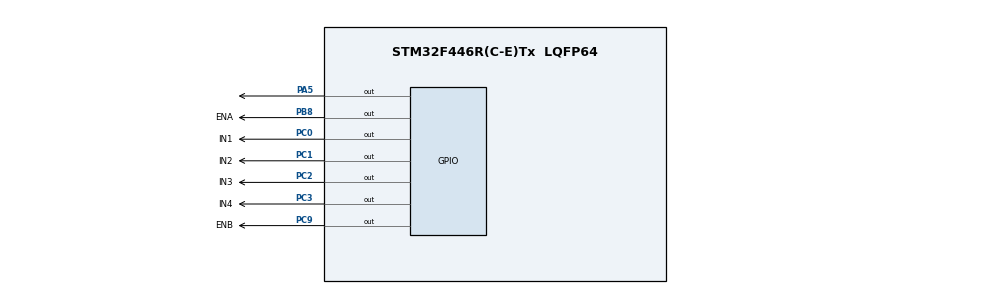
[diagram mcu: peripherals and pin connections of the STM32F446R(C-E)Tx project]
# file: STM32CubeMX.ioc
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Mcu.Family=STM32F4
Mcu.Name=STM32F446R(C-E)Tx
Mcu.Package=LQFP64
NVIC.PriorityGroup=NVIC_PRIORITYGROUP_4
PA5.Signal=GPIO_Output
PB8.GPIO_Label=ENA
PB8.Signal=GPIO_Output
PC0.GPIO_Label=IN1
PC0.Signal=GPIO_Output
PC1.GPIO_Label=IN2
PC1.Signal=GPIO_Output
PC2.GPIO_Label=IN3
PC2.Signal=GPIO_Output
PC3.GPIO_Label=IN4
PC3.Signal=GPIO_Output
PC9.GPIO_Label=ENB
PC9.Signal=GPIO_Output
ProjectManager.HeapSize=0x200
ProjectManager.StackSize=0x400
ProjectManager.TargetToolchain=MDK-ARM V5
RCC.CortexFreq_Value=16000000
RCC.USBFreq_Value=96000000
RCC.VCOOutputFreq_Value=192000000
board=custom

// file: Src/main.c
/* USER CODE BEGIN Header */
/**
  ******************************************************************************
  * @file           : main.c
  * @brief          : Main program body
  ******************************************************************************
  * @attention
  *
  * Copyright (c) 2026 STMicroelectronics.
  * All rights reserved.
  *
  * This software is licensed under terms that can be found in the LICENSE file
  * in the root directory of this software component.
  * If no LICENSE file comes with this software, it is provided AS-IS.
  *
  ******************************************************************************
  */
/* USER CODE END Header */
#include "main.h"

void SystemClock_Config(void);
static void MX_GPIO_Init(void);
/* USER CODE BEGIN PFP */
void set_coil_a(int);
void set_coil_b(int);
/* USER CODE END PFP */

/* USER CODE BEGIN 0 */
GPIO_TypeDef* GPIO_IN1 = GPIOC;
GPIO_TypeDef* GPIO_IN2 = GPIOC;
GPIO_TypeDef* GPIO_IN3 = GPIOC;
GPIO_TypeDef* GPIO_IN4 = GPIOC;
GPIO_TypeDef* GPIO_ENA = GPIOC;
GPIO_TypeDef* GPIO_ENB = GPIOB;
uint16_t PIN_IN1 = GPIO_PIN_0;
uint16_t PIN_IN2 = GPIO_PIN_1;
uint16_t PIN_IN3 = GPIO_PIN_2;
uint16_t PIN_IN4 = GPIO_PIN_3;
uint16_t PIN_ENA = GPIO_PIN_9;
uint16_t PIN_ENB = GPIO_PIN_8;
/* USER CODE END 0 */

int main(void)
{

  /* MCU Configuration--------------------------------------------------------*/

  /* Reset of all peripherals, Initializes the Flash interface and the Systick. */
  HAL_Init();

  /* Configure the system clock */
  SystemClock_Config();

  /* Initialize all configured peripherals */
  MX_GPIO_Init();
  /* USER CODE BEGIN 2 */
	HAL_GPIO_WritePin(GPIO_ENA, PIN_ENA, GPIO_PIN_SET);
	HAL_GPIO_WritePin(GPIO_ENB, PIN_ENB, GPIO_PIN_SET);

	// full step
//	int steps[4][2] = {
//		{ 1,  1},
//		{-1,  1},
//		{-1, -1},
//		{ 1, -1}
//	};

	// half step
	int steps[8][2] = {
		{ 1,  0},
		{ 1,  1},
		{ 0,  1},
		{-1,  1},
		{-1,  0},
		{-1, -1},
		{ 0, -1},
		{ 1, -1}
	};

	int step = 0;
	int reverse = 0;

	float step_deg = 7.5;
	float round_steps = 360 / step_deg;

	int accel_steps = 10;

	float current_rps = 0;
	float target_rps = 4;

	float rps_step = target_rps / accel_steps;
	float delay_ms = 0;
  /* USER CODE END 2 */

  /* Infinite loop */
  while (1)
  {

    /* USER CODE BEGIN 3 */
		set_coil_a(steps[step][0]);
		set_coil_b(steps[step][1]);

		if (reverse) {
			step = (step - 1) % 4;
		}	else {
			step = (step + 1) % 4;
		}

		if (current_rps < target_rps) {
			current_rps = current_rps + rps_step;
		}
		else {
			current_rps = target_rps;
		}

		delay_ms = 1000 / (round_steps * current_rps);
		HAL_Delay(delay_ms);

		HAL_GPIO_TogglePin(GPIOA, GPIO_PIN_5);
  }
  /* USER CODE END 3 */
}

void SystemClock_Config(void)
{
  RCC_OscInitTypeDef RCC_OscInitStruct = {0};
  RCC_ClkInitTypeDef RCC_ClkInitStruct = {0};

  /** Configure the main internal regulator output voltage
  */
  __HAL_RCC_PWR_CLK_ENABLE();
  __HAL_PWR_VOLTAGESCALING_CONFIG(PWR_REGULATOR_VOLTAGE_SCALE3);

  /** Initializes the RCC Oscillators according to the specified parameters
  * in the RCC_OscInitTypeDef structure.
  */
  RCC_OscInitStruct.OscillatorType = RCC_OSCILLATORTYPE_HSI;
  RCC_OscInitStruct.HSIState = RCC_HSI_ON;
  RCC_OscInitStruct.HSICalibrationValue = RCC_HSICALIBRATION_DEFAULT;
  RCC_OscInitStruct.PLL.PLLState = RCC_PLL_NONE;
  if (HAL_RCC_OscConfig(&RCC_OscInitStruct) != HAL_OK)
  {
    Error_Handler();
  }

  /** Initializes the CPU, AHB and APB buses clocks
  */
  RCC_ClkInitStruct.ClockType = RCC_CLOCKTYPE_HCLK|RCC_CLOCKTYPE_SYSCLK
                              |RCC_CLOCKTYPE_PCLK1|RCC_CLOCKTYPE_PCLK2;
  RCC_ClkInitStruct.SYSCLKSource = RCC_SYSCLKSOURCE_HSI;
  RCC_ClkInitStruct.AHBCLKDivider = RCC_SYSCLK_DIV1;
  RCC_ClkInitStruct.APB1CLKDivider = RCC_HCLK_DIV1;
  RCC_ClkInitStruct.APB2CLKDivider = RCC_HCLK_DIV1;

  if (HAL_RCC_ClockConfig(&RCC_ClkInitStruct, FLASH_LATENCY_0) != HAL_OK)
  {
    Error_Handler();
  }
}

static void MX_GPIO_Init(void)
{
  GPIO_InitTypeDef GPIO_InitStruct = {0};

  /* GPIO Ports Clock Enable */
  __HAL_RCC_GPIOC_CLK_ENABLE();
  __HAL_RCC_GPIOA_CLK_ENABLE();
  __HAL_RCC_GPIOB_CLK_ENABLE();

  /*Configure GPIO pin Output Level */
  HAL_GPIO_WritePin(GPIOC, IN1_Pin|IN2_Pin|IN3_Pin|IN4_Pin
                          |ENB_Pin, GPIO_PIN_RESET);

  /*Configure GPIO pin Output Level */
  HAL_GPIO_WritePin(GPIOA, GPIO_PIN_5, GPIO_PIN_RESET);

  /*Configure GPIO pin Output Level */
  HAL_GPIO_WritePin(ENA_GPIO_Port, ENA_Pin, GPIO_PIN_RESET);

  /*Configure GPIO pins : IN1_Pin IN2_Pin IN3_Pin IN4_Pin
                           ENB_Pin */
  GPIO_InitStruct.Pin = IN1_Pin|IN2_Pin|IN3_Pin|IN4_Pin
                          |ENB_Pin;
  GPIO_InitStruct.Mode = GPIO_MODE_OUTPUT_PP;
  GPIO_InitStruct.Pull = GPIO_NOPULL;
  GPIO_InitStruct.Speed = GPIO_SPEED_FREQ_LOW;
  HAL_GPIO_Init(GPIOC, &GPIO_InitStruct);

  /*Configure GPIO pin : PA5 */
  GPIO_InitStruct.Pin = GPIO_PIN_5;
  GPIO_InitStruct.Mode = GPIO_MODE_OUTPUT_PP;
  GPIO_InitStruct.Pull = GPIO_NOPULL;
  GPIO_InitStruct.Speed = GPIO_SPEED_FREQ_LOW;
  HAL_GPIO_Init(GPIOA, &GPIO_InitStruct);

  /*Configure GPIO pin : ENA_Pin */
  GPIO_InitStruct.Pin = ENA_Pin;
  GPIO_InitStruct.Mode = GPIO_MODE_OUTPUT_PP;
  GPIO_InitStruct.Pull = GPIO_NOPULL;
  GPIO_InitStruct.Speed = GPIO_SPEED_FREQ_LOW;
  HAL_GPIO_Init(ENA_GPIO_Port, &GPIO_InitStruct);

}

/* USER CODE BEGIN 4 */
void set_coil_a(int direction) {

	if (direction == 1) {
		HAL_GPIO_WritePin(GPIO_IN1, PIN_IN1, GPIO_PIN_SET);
		HAL_GPIO_WritePin(GPIO_IN2, PIN_IN2, GPIO_PIN_RESET);
	}
	else if (direction == -1) {
		HAL_GPIO_WritePin(GPIO_IN1, PIN_IN1, GPIO_PIN_RESET);
		HAL_GPIO_WritePin(GPIO_IN2, PIN_IN2, GPIO_PIN_SET);
	}
	else {
		HAL_GPIO_WritePin(GPIO_IN1, PIN_IN1, GPIO_PIN_RESET);
		HAL_GPIO_WritePin(GPIO_IN2, PIN_IN2, GPIO_PIN_RESET);
	}
}

void set_coil_b(int direction) {

	if (direction == 1) {
		HAL_GPIO_WritePin(GPIO_IN3, PIN_IN3, GPIO_PIN_SET);
		HAL_GPIO_WritePin(GPIO_IN4, PIN_IN4, GPIO_PIN_RESET);
	}
	else if (direction == -1) {
		HAL_GPIO_WritePin(GPIO_IN3, PIN_IN3, GPIO_PIN_RESET);
		HAL_GPIO_WritePin(GPIO_IN4, PIN_IN4, GPIO_PIN_SET);
	}
	else {
		HAL_GPIO_WritePin(GPIO_IN3, PIN_IN3, GPIO_PIN_RESET);
		HAL_GPIO_WritePin(GPIO_IN4, PIN_IN4, GPIO_PIN_RESET);
	}
}
/* USER CODE END 4 */

void Error_Handler(void)
{
  __disable_irq();
  while (1)
  {
  }
}
